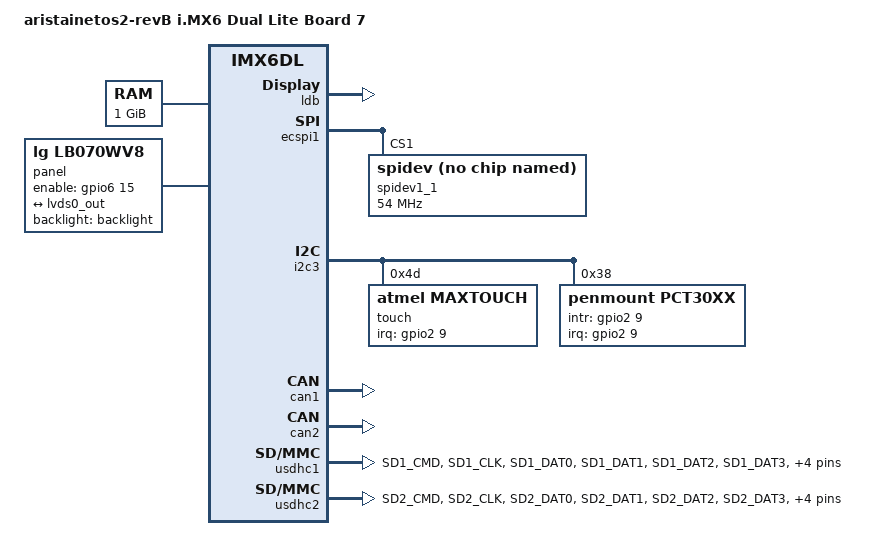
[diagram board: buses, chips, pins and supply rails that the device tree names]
/*
 * support for the imx6 based aristainetos2-revB board
 *
 * Copyright (C) 2015 Heiko Schocher <hs@denx.de>
 *
 * This file is dual-licensed: you can use it either under the terms
 * of the GPL or the X11 license, at your option. Note that this dual
 * licensing only applies to this file, and not this project as a
 * whole.
 *
 *  a) This file is free software; you can redistribute it and/or
 *     modify it under the terms of the GNU General Public License
 *     version 2 as published by the Free Software Foundation.
 *
 *     This file is distributed in the hope that it will be useful
 *     but WITHOUT ANY WARRANTY; without even the implied warranty of
 *     MERCHANTABILITY or FITNESS FOR A PARTICULAR PURPOSE.  See the
 *     GNU General Public License for more details.
 *
 * Or, alternatively
 *
 *  b) Permission is hereby granted, free of charge, to any person
 *     obtaining a copy of this software and associated documentation
 *     files (the "Software"), to deal in the Software without
 *     restriction, including without limitation the rights to use
 *     copy, modify, merge, publish, distribute, sublicense, and/or
 *     sell copies of the Software, and to permit persons to whom the
 *     Software is furnished to do so, subject to the following
 *     conditions:
 *
 *     The above copyright notice and this permission notice shall be
 *     included in all copies or substantial portions of the Software.
 *
 *     THE SOFTWARE IS PROVIDED , WITHOUT WARRANTY OF ANY KIND
 *     EXPRESS OR IMPLIED, INCLUDING BUT NOT LIMITED TO THE WARRANTIES
 *     OF MERCHANTABILITY, FITNESS FOR A PARTICULAR PURPOSE AND
 *     NONINFRINGEMENT. IN NO EVENT SHALL THE AUTHORS OR COPYRIGHT
 *     HOLDERS BE LIABLE FOR ANY CLAIM, DAMAGES OR OTHER LIABILITY
 *     WHETHER IN AN ACTION OF CONTRACT, TORT OR OTHERWISE, ARISING
 *     FROM, OUT OF OR IN CONNECTION WITH THE SOFTWARE OR THE USE OR
 *     OTHER DEALINGS IN THE SOFTWARE.
 */
/dts-v1/;
#include "imx6dl.dtsi"
#include "imx6qdl-aristainetos2b.dtsi"

/ {
	model = "aristainetos2-revB i.MX6 Dual Lite Board 7";
	compatible = "fsl,imx6dl";

	memory {
		reg = <0x10000000 0x40000000>;
	};

	panel: panel {
		compatible = "lg,lb070wv8";
		backlight = <&backlight>;
		enable-gpios = <&gpio6 15 GPIO_ACTIVE_HIGH>;

		port {
			panel_in: endpoint {
				remote-endpoint = <&lvds0_out>;
			};
		};
	};
};

&ldb {
	status = "okay";

	lvds-channel@0 {
		status = "okay";

		port@0 {
			reg = <0>;
			lvds0_in: endpoint {
				remote-endpoint = <&ipu1_di0_lvds0>;
			};
		};

		port@4 {
			reg = <4>;
			lvds0_out: endpoint {
				remote-endpoint = <&panel_in>;
			};
		};
	};
};

&ecspi1 {
	spidev1_1: spi@1 {
		compatible = "spidev";
		reg = <1>;
		spi-max-frequency = <54000000>;
	};
};

&i2c3 {
	touch: touch@4d {
		compatible = "atmel,maxtouch";
		reg = <0x4d>;
		interrupt-parent = <&gpio2>;
		interrupts = <9 8>;
	};
	penmount: penmount-i2c@38 {
		compatible = "penmount,pct30xx";
		reg = <0x38>;
		interrupt-parent = <&gpio2>;
		interrupts = <9 8>; // IRQ_TYPE_LEVEL_LOW not used in driver (hardcoded)
		gpio_intr = <&gpio2 9 0>; // needs to be the same as above interrupt declaration
	};
};

&can1 {
	pinctrl-names = "default";
	pinctrl-0 = <&pinctrl_flexcan1>;
	status = "okay";
};

&can2 {
	pinctrl-names = "default";
	pinctrl-0 = <&pinctrl_flexcan2>;
	status = "okay";
};

&usdhc1 {
	pinctrl-names = "default";
	pinctrl-0 = <&pinctrl_usdhc1>;
	cd-gpios = <&gpio1 27 GPIO_ACTIVE_LOW>;
	wp-gpios = <&gpio4 20 GPIO_ACTIVE_HIGH>;
	no-1-8-v;
	status = "okay";
};

&usdhc2 {
	pinctrl-names = "default";
	pinctrl-0 = <&pinctrl_usdhc2>;
	cd-gpios = <&gpio4 5 GPIO_ACTIVE_LOW>; /* comment out this line to make the WiFi Eval-Module work in SD-Slot2 */
/*	broken-cd;  remove comment  to make the WiFi Eval-Module work in SD-Slot2, causes 6% CPU load if no WiFi module installed (polling) */

	wp-gpios = <&gpio2 10 GPIO_ACTIVE_HIGH>;
	no-1-8-v;
	status = "okay";
};

&iomuxc {
	pinctrl_usdhc1: usdhc1grp {
		fsl,pins = <
			MX6QDL_PAD_SD1_CMD__SD1_CMD    0x17059
			MX6QDL_PAD_SD1_CLK__SD1_CLK    0x10059
			MX6QDL_PAD_SD1_DAT0__SD1_DATA0 0x17059
			MX6QDL_PAD_SD1_DAT1__SD1_DATA1 0x17059
			MX6QDL_PAD_SD1_DAT2__SD1_DATA2 0x17059
			MX6QDL_PAD_SD1_DAT3__SD1_DATA3 0x17059
			MX6QDL_PAD_ENET_RXD0__GPIO1_IO27	0x1b0b0 /* SD1 card detect input */
			MX6QDL_PAD_DI0_PIN4__GPIO4_IO20		0x1b0b0 /* SD1 write protect input */
		>;
	};

	pinctrl_usdhc2: usdhc2grp {
		fsl,pins = <
			MX6QDL_PAD_SD2_CMD__SD2_CMD    0x71
			MX6QDL_PAD_SD2_CLK__SD2_CLK    0x71
			MX6QDL_PAD_SD2_DAT0__SD2_DATA0 0x71
			MX6QDL_PAD_SD2_DAT1__SD2_DATA1 0x71
			MX6QDL_PAD_SD2_DAT2__SD2_DATA2 0x71
			MX6QDL_PAD_SD2_DAT3__SD2_DATA3 0x71
			MX6QDL_PAD_GPIO_19__GPIO4_IO05		0x1b0b0 /* SD2 card detect input */
			MX6QDL_PAD_SD4_DAT2__GPIO2_IO10		0x1b0b0 /* SD2 write protect input */
		>;
	};
};
